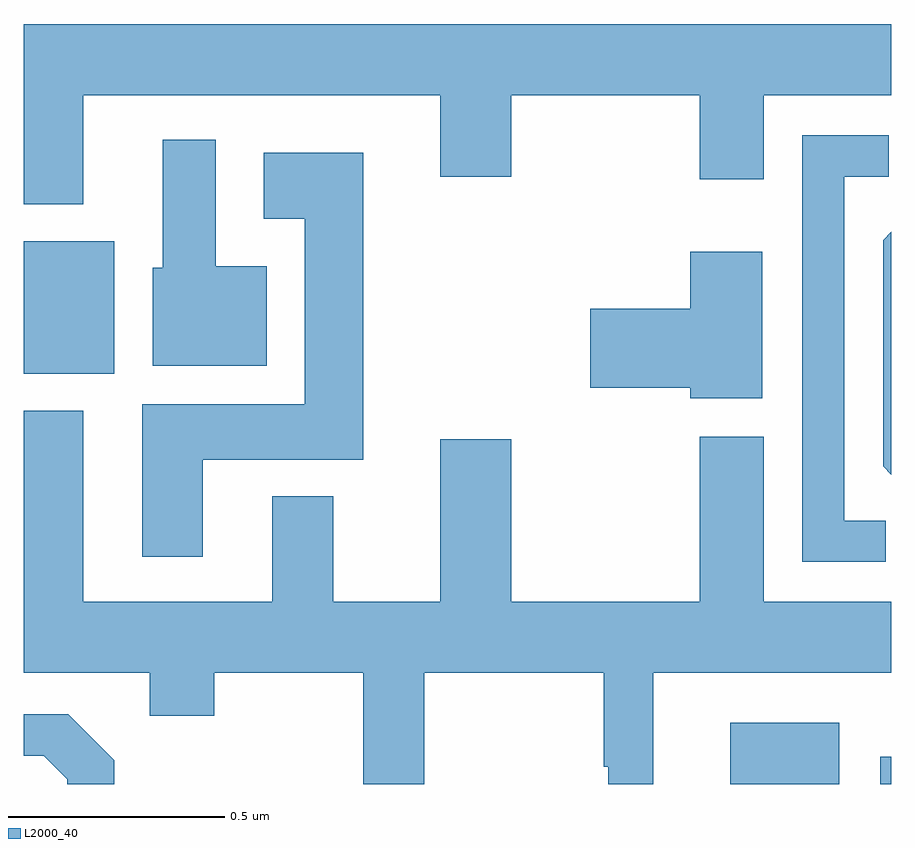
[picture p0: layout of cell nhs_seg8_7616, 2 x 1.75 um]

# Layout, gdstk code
import gdstk
lib = gdstk.Library(unit=1e-6, precision=1e-09)
def R(c, l, rs):  # rectangles x0, y0, x1, y1
    for r in rs: c.add(gdstk.rectangle(r[:2], r[2:], *l))
def P(c, l, *ps):  # polygons
    for p in ps: c.add(gdstk.Polygon(p, *l))
L2000_40 = (2000, 40)

nhs_seg8_7616 = lib.new_cell('nhs_seg8_7616')
R(nhs_seg8_7616, L2000_40, [(213.629,1126.9,213.88,1127.041), (213.975,1126.9,214,1126.963), (212,1127.846,212.209,1128.151)])
P(nhs_seg8_7616, L2000_40, [(212.137,1128.488),(212.96,1128.488),(212.96,1128.3),(213.124,1128.3),(213.124,1128.488),(213.559,1128.488),(213.559,1128.294),(213.706,1128.294),(213.706,1128.488),(214,1128.488),(214,1128.652),(212,1128.652),(212,1128.236),(212.137,1128.236)],
  [(213.987,1127.507),(213.891,1127.507),(213.891,1128.3),(213.994,1128.3),(213.994,1128.396),(213.795,1128.396),(213.795,1127.412),(213.987,1127.412)],
  [(212.56,1128.094),(212.443,1128.094),(212.443,1128.385),(212.321,1128.385),(212.321,1128.09),(212.297,1128.09),(212.297,1127.864),(212.56,1127.864)],
  [(212.413,1127.648),(212.783,1127.648),(212.783,1128.355),(212.553,1128.355),(212.553,1128.203),(212.648,1128.203),(212.648,1127.776),(212.273,1127.776),(212.273,1127.424),(212.413,1127.424)],
  [(214,1128.173),(213.981,1128.154),(213.981,1127.632),(214,1127.613)],
  [(213.703,1128.127),(213.536,1128.127),(213.536,1127.996),(213.306,1127.996),(213.306,1127.813),(213.536,1127.813),(213.536,1127.789),(213.703,1127.789)],
  [(213.559,1127.701),(213.559,1127.32),(213.124,1127.32),(213.124,1127.695),(212.96,1127.695),(212.96,1127.32),(212.713,1127.32),(212.713,1127.563),(212.573,1127.563),(212.573,1127.32),(212.137,1127.32),(212.137,1127.761),(212,1127.761),(212,1127.156),(212.291,1127.156),(212.291,1127.057),(212.439,1127.057),(212.439,1127.156),(212.783,1127.156),(212.783,1126.9),(212.923,1126.9),(212.923,1127.156),(213.337,1127.156),(213.337,1126.94),(213.347,1126.94),(213.347,1126.9),(213.451,1126.9),(213.451,1127.156),(214,1127.156),(214,1127.32),(213.706,1127.32),(213.706,1127.701)],
  [(212.209,1126.955),(212.103,1127.061),(212,1127.061),(212,1126.965),(212.046,1126.965),(212.1,1126.911),(212.1,1126.9),(212.209,1126.9)])

lib.write_gds('nhs_seg8_7616.gds')
